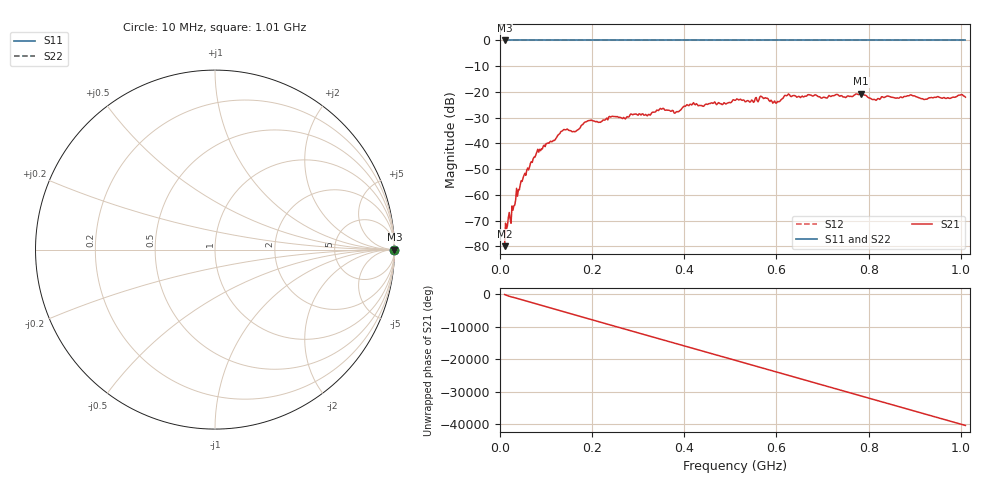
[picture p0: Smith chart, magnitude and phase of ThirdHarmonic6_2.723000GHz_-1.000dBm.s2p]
! 8/17/2025 6:39:12 AM
! C:\ANRITSUVNA\TEMP\TEMP.S2P
! CHANNEL.1
! TR.MEASUREMENT
! RAW.DATA
! RF.CORRECTION.OFF
! AVERAGING.OFF
! IF.BANDWIDTH: 5KHZ
! SWEEPTYPE:  FREQ.SWEEP(Linear)
! Reference Plane Port Info
! PORT:  PORT1  PORT2
! DISTANCE:  0  m  0  m
! TIME:  0  s  0  s
! PHASE.OFFSET:  0  deg.  0  deg.
! LOSS:  0  dB  0  dB
! REF.LOSS:  0  dB  0  dB
! REF.FREQ:  0  Hz  0  Hz
! Power Info
! POWER:  -20  dBm  -20  dBm
! EFF.POWER:  -20  dBm  -20  dBm
! SOURCE.ATTEN:  0  dB  0  dB
! TEST.ATTEN:  0  dB  0  dB
# GHZ S RI R 50.0
! FREQ.GHZ  S11RE  S11IM  S21RE  S21IM  S12RE  S12IM  S22RE  S22IM
!; PortSelection: Port_12
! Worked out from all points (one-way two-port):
!   501 points, 10 MHz to 1.01 GHz, reference 50 ohm
!   highest |S21| = -20.65 dB at 784 MHz (marker M1); lowest = -79.9 dB at 10 MHz (marker M2)
!   lowest |S11| = 0.0 dB at 10 MHz (marker M3)
!   |S11| at or under -10 dB: nowhere
!   |S22| runs from 0.0 to 0.0 dB; largest |S21 - S12| = 1.1
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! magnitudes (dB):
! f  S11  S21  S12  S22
! 10 MHz  0.0  -79.9  0.0  0.0
! 16 MHz  0.0  -72.2  0.0  0.0
! 26 MHz  0.0  -64.3  0.0  0.0
! 40 MHz  0.0  -57.9  0.0  0.0
! 78 MHz  0.0  -44.4  0.0  0.0
! 136 MHz  0.0  -35.1  0.0  0.0
! 162 MHz  0.0  -35.5  0.0  0.0
! 178 MHz  0.0  -32.8  0.0  0.0
! 240 MHz  0.0  -29.8  0.0  0.0
! 322 MHz  0.0  -28.7  0.0  0.0
! 344 MHz  0.0  -27.2  0.0  0.0
! 382 MHz  0.0  -27.8  0.0  0.0
! 416 MHz  0.0  -25.1  0.0  0.0
! 510 MHz  0.0  -23.3  0.0  0.0
! 568 MHz  0.0  -21.8  0.0  0.0
! 596 MHz  0.0  -23.5  0.0  0.0
! 622 MHz  0.0  -21.5  0.0  0.0
! 678 MHz  0.0  -21.6  0.0  0.0
! 784 MHz  0.0  -20.7  0.0  0.0
! 812 MHz  0.0  -22.9  0.0  0.0
! 844 MHz  0.0  -21.7  0.0  0.0
! 1.01 GHz  0.0  -22.0  0.0  0.0
